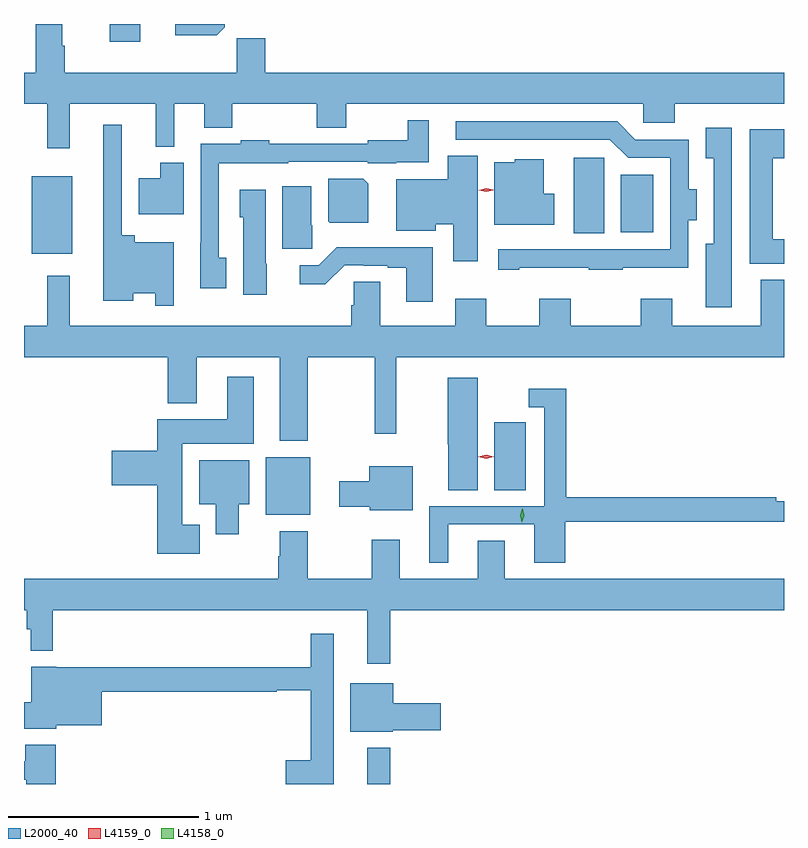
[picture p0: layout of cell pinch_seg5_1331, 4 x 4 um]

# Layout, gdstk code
import gdstk
lib = gdstk.Library(unit=1e-6, precision=1e-09)
def R(c, l, rs):  # rectangles x0, y0, x1, y1
    for r in rs: c.add(gdstk.rectangle(r[:2], r[2:], *l))
def P(c, l, *ps):  # polygons
    for p in ps: c.add(gdstk.Polygon(p, *l))
L2000_40 = (2000, 40)
L4158_0 = (4158, 0)
L4159_0 = (4159, 0)

pinch_seg5_1331 = lib.new_cell('pinch_seg5_1331')
R(pinch_seg5_1331, L2000_40, [(257.033,885.149,257.154,885.34), (256.499,886.565,256.732,886.87), (257.702,886.696,257.866,887.053), (255.266,887.939,255.481,888.349), (258.119,888.049,258.28,888.445), (258.368,888.053,258.538,888.355), (255.677,889.056,255.838,889.149)])
P(pinch_seg5_1331, L2000_40, [(256.282,889.132),(256.282,889.149),(256.023,889.149),(256.023,889.091),(256.241,889.091)],
  [(255.467,888.728),(255.92,888.728),(255.92,888.503),(256.018,888.503),(256.018,888.728),(256.175,888.728),(256.175,888.604),(256.323,888.604),(256.323,888.728),(256.767,888.728),(256.767,888.604),(256.923,888.604),(256.923,888.728),(258.486,888.728),(258.486,888.63),(258.65,888.63),(258.65,888.728),(259.226,888.728),(259.226,888.892),(256.496,888.892),(256.496,889.074),(256.345,889.074),(256.345,888.892),(255.44,888.892),(255.44,889.034),(255.427,889.034),(255.427,889.149),(255.287,889.149),(255.287,888.892),(255.226,888.892),(255.226,888.728),(255.349,888.728),(255.349,888.495),(255.467,888.495)],
  [(256.291,887.918),(256.251,887.918),(256.251,888.416),(256.617,888.416),(256.617,888.423),(257.034,888.423),(257.034,888.416),(257.184,888.416),(257.184,888.422),(257.356,888.422),(257.356,888.643),(257.247,888.643),(257.247,888.538),(257.034,888.538),(257.034,888.519),(256.518,888.519),(256.518,888.537),(256.368,888.537),(256.368,888.519),(256.155,888.519),(256.155,887.997),(256.154,887.997),(256.154,887.757),(256.291,887.757)],
  [(257.833,887.867),(258.199,887.867),(258.199,887.856),(258.377,887.856),(258.377,887.867),(258.723,887.867),(258.723,888.116),(258.766,888.116),(258.766,888.28),(258.724,888.28),(258.724,888.54),(258.444,888.54),(258.348,888.636),(257.499,888.636),(257.499,888.54),(258.309,888.54),(258.405,888.444),(258.627,888.444),(258.627,887.964),(257.721,887.964),(257.721,887.856),(257.833,887.856)],
  [(256.014,888.001),(255.81,888.001),(255.81,888.037),(255.741,888.037),(255.741,888.619),(255.644,888.619),(255.644,887.693),(255.802,887.693),(255.802,887.732),(255.918,887.732),(255.918,887.667),(256.014,887.667)],
  [(258.952,887.888),(258.951,887.888),(258.951,888.604),(258.815,888.604),(258.815,888.443),(258.855,888.443),(258.855,887.992),(258.815,887.992),(258.815,887.658),(258.952,887.658)],
  [(259.226,888.016),(259.168,888.016),(259.168,888.443),(259.226,888.443),(259.226,888.595),(259.046,888.595),(259.046,887.888),(259.226,887.888)],
  [(257.614,888.455),(257.456,888.455),(257.456,888.332),(257.186,888.332),(257.186,888.062),(257.392,888.062),(257.392,888.095),(257.486,888.095),(257.486,887.901),(257.614,887.901)],
  [(258.016,888.256),(257.962,888.256),(257.962,888.436),(257.808,888.436),(257.808,888.421),(257.702,888.421),(257.702,888.092),(258.016,888.092)],
  [(256.066,888.418),(255.944,888.418),(255.944,888.337),(255.83,888.337),(255.83,888.149),(256.066,888.149)],
  [(257.038,888.308),(257.012,888.334),(256.826,888.334),(256.826,888.112),(256.834,888.104),(257.038,888.104)],
  [(256.742,888.09),(256.738,888.09),(256.738,888.295),(256.586,888.295),(256.586,887.967),(256.742,887.967)],
  [(256.504,887.886),(256.498,887.886),(256.498,888.277),(256.361,888.277),(256.361,888.132),(256.379,888.132),(256.379,887.724),(256.504,887.724)],
  [(257.377,887.975),(256.871,887.975),(256.776,887.88),(256.677,887.88),(256.677,887.778),(256.812,887.778),(256.914,887.88),(257.014,887.88),(257.014,887.877),(257.141,887.877),(257.141,887.865),(257.237,887.865),(257.237,887.688),(257.377,887.688)],
  [(256.719,887.396),(257.073,887.396),(257.073,886.992),(257.186,886.992),(257.186,887.396),(259.226,887.396),(259.226,887.803),(259.103,887.803),(259.103,887.56),(258.637,887.56),(258.637,887.704),(258.473,887.704),(258.473,887.56),(258.103,887.56),(258.103,887.704),(257.939,887.704),(257.939,887.56),(257.659,887.56),(257.659,887.704),(257.495,887.704),(257.495,887.56),(257.101,887.56),(257.101,887.792),(256.962,887.792),(256.962,887.67),(256.949,887.67),(256.949,887.56),(255.466,887.56),(255.466,887.824),(255.349,887.824),(255.349,887.56),(255.226,887.56),(255.226,887.396),(255.983,887.396),(255.983,887.153),(256.135,887.153),(256.135,887.396),(256.571,887.396),(256.571,886.955),(256.719,886.955)],
  [(256.15,886.513),(256.06,886.513),(256.06,886.94),(256.435,886.94),(256.435,887.293),(256.295,887.293),(256.295,887.068),(255.926,887.068),(255.926,886.904),(255.687,886.904),(255.687,886.721),(255.926,886.721),(255.926,886.361),(256.15,886.361)],
  [(257.614,887.287),(257.456,887.287),(257.456,886.938),(257.459,886.938),(257.459,886.696),(257.614,886.696)],
  [(257.458,886.515),(257.912,886.515),(257.912,886.314),(258.074,886.314),(258.074,886.53),(259.226,886.53),(259.226,886.638),(259.184,886.638),(259.184,886.658),(258.08,886.658),(258.08,887.23),(257.883,887.23),(257.883,887.133),(257.964,887.133),(257.964,886.611),(257.36,886.611),(257.36,886.314),(257.458,886.314)],
  [(256.357,886.622),(256.411,886.622),(256.411,886.852),(256.148,886.852),(256.148,886.622),(256.235,886.622),(256.235,886.464),(256.357,886.464)],
  [(257.272,886.822),(257.042,886.822),(257.042,886.742),(256.884,886.742),(256.884,886.607),(257.046,886.607),(257.046,886.589),(257.272,886.589)],
  [(257.615,886.43),(257.615,886.228),(257.203,886.228),(257.203,886.435),(257.056,886.435),(257.056,886.228),(256.719,886.228),(256.719,886.48),(256.571,886.48),(256.571,886.349),(256.564,886.349),(256.564,886.228),(255.226,886.228),(255.226,886.064),(255.241,886.064),(255.241,885.963),(255.261,885.963),(255.261,885.851),(255.377,885.851),(255.377,886.064),(257.033,886.064),(257.033,885.783),(257.154,885.783),(257.154,886.064),(259.226,886.064),(259.226,886.228),(257.755,886.228),(257.755,886.43)],
  [(256.855,885.94),(256.734,885.94),(256.734,885.763),(255.396,885.763),(255.396,885.766),(255.263,885.766),(255.263,885.578),(255.226,885.578),(255.226,885.44),(255.396,885.44),(255.396,885.458),(255.634,885.458),(255.634,885.634),(256.555,885.634),(256.555,885.642),(256.734,885.642),(256.734,885.274),(256.604,885.274),(256.604,885.149),(256.855,885.149)],
  [(257.166,885.431),(257.419,885.431),(257.419,885.573),(257.17,885.573),(257.17,885.679),(256.943,885.679),(256.943,885.425),(257.166,885.425)],
  [(255.392,885.355),(255.232,885.355),(255.232,885.269),(255.226,885.269),(255.226,885.171),(255.239,885.171),(255.239,885.149),(255.392,885.149)])
P(pinch_seg5_1331, L4158_0, [(257.847,886.526),(257.846,886.527),(257.838,886.563),(257.849,886.599),(257.85,886.599),(257.85,886.599),(257.858,886.562),(257.847,886.527)])
P(pinch_seg5_1331, L4159_0, [(257.658,886.862),(257.618,886.872),(257.618,886.872),(257.618,886.872),(257.658,886.882),(257.698,886.872),(257.698,886.872),(257.698,886.872)],
  [(257.658,888.265),(257.62,888.274),(257.62,888.274),(257.62,888.274),(257.658,888.285),(257.695,888.276),(257.695,888.276),(257.695,888.275)])

lib.write_gds('pinch_seg5_1331.gds')
